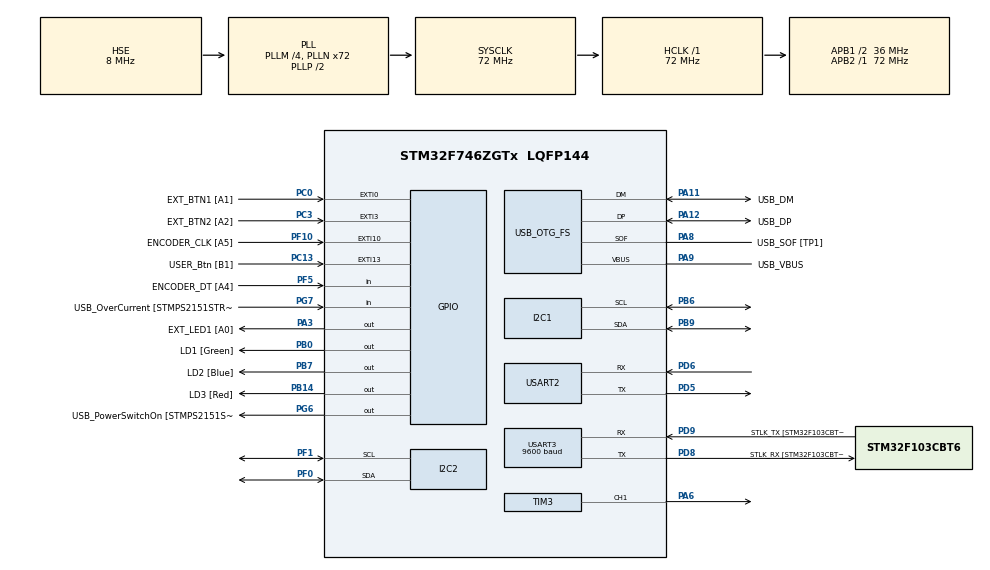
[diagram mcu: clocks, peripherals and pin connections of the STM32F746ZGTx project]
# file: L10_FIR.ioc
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I2C1.Timing=0x00808CD2
I2C2.Timing=0x00808CD2
Mcu.Family=STM32F7
Mcu.Name=STM32F746ZGTx
Mcu.Package=LQFP144
NVIC.EXTI0_IRQn=true\:0\:0\:false\:false\:true\:true\:true
NVIC.EXTI15_10_IRQn=true\:0\:0\:false\:false\:true\:true\:true
NVIC.EXTI3_IRQn=true\:0\:0\:false\:false\:true\:true\:true
NVIC.PriorityGroup=NVIC_PRIORITYGROUP_4
NVIC.TIM3_IRQn=true\:0\:0\:false\:false\:true\:true\:true
NVIC.TIM4_IRQn=true\:0\:0\:false\:false\:true\:true\:true
NVIC.USART3_IRQn=true\:0\:0\:false\:false\:true\:true\:true
PA1.GPIO_Label=RMII_REF_CLK [LAN8742A-CZ-TR_REFCLK0]
PA1.Signal=ETH_REF_CLK
PA10.GPIO_Label=USB_ID
PA10.Signal=USB_OTG_FS_ID
PA11.GPIO_Label=USB_DM
PA11.Mode=Device_Only
PA11.Signal=USB_OTG_FS_DM
PA12.GPIO_Label=USB_DP
PA12.Mode=Device_Only
PA12.Signal=USB_OTG_FS_DP
PA13.GPIO_Label=TMS
PA13.Mode=Serial_Wire
PA13.Signal=SYS_JTMS-SWDIO
PA14.GPIO_Label=TCK
PA14.Mode=Serial_Wire
PA14.Signal=SYS_JTCK-SWCLK
PA2.GPIO_Label=RMII_MDIO [LAN8742A-CZ-TR_MDIO]
PA2.Signal=ETH_MDIO
PA3.GPIO_Label=EXT_LED1 [A0]
PA3.Signal=GPIO_Output
PA6.Signal=S_TIM3_CH1
PA7.GPIO_Label=RMII_CRS_DV [LAN8742A-CZ-TR_CRS_DV]
PA7.Signal=ETH_CRS_DV
PA8.GPIO_Label=USB_SOF [TP1]
PA8.Mode=Activate_SOF_FS
PA8.Signal=USB_OTG_FS_SOF
PA9.GPIO_Label=USB_VBUS
PA9.Mode=Activate_VBUS
PA9.Signal=USB_OTG_FS_VBUS
PB0.GPIO_Label=LD1 [Green]
PB0.Signal=GPIO_Output
PB13.GPIO_Label=RMII_TXD1 [LAN8742A-CZ-TR_TXD1]
PB13.Signal=ETH_TXD1
PB14.GPIO_Label=LD3 [Red]
PB14.Signal=GPIO_Output
PB3.GPIO_Label=SW0
PB3.Signal=SYS_JTDO-SWO
PB6.Mode=I2C
PB6.Signal=I2C1_SCL
PB7.GPIO_Label=LD2 [Blue]
PB7.Signal=GPIO_Output
PB9.Mode=I2C
PB9.Signal=I2C1_SDA
PC0.GPIO_Label=EXT_BTN1 [A1]
PC0.GPIO_ModeDefaultEXTI=GPIO_MODE_IT_FALLING
PC0.Signal=GPXTI0
PC1.GPIO_Label=RMII_MDC [LAN8742A-CZ-TR_MDC]
PC1.Signal=ETH_MDC
PC13.GPIO_Label=USER_Btn [B1]
PC13.Signal=GPXTI13
PC14/OSC32_IN.Mode=LSE-External-Oscillator
PC14/OSC32_IN.Signal=RCC_OSC32_IN
PC15/OSC32_OUT.Mode=LSE-External-Oscillator
PC15/OSC32_OUT.Signal=RCC_OSC32_OUT
PC3.GPIO_Label=EXT_BTN2 [A2]
PC3.GPIO_ModeDefaultEXTI=GPIO_MODE_IT_RISING
PC3.Signal=GPXTI3
PC4.GPIO_Label=RMII_RXD0 [LAN8742A-CZ-TR_RXD0]
PC4.Signal=ETH_RXD0
PC5.GPIO_Label=RMII_RXD1 [LAN8742A-CZ-TR_RXD1]
PC5.Signal=ETH_RXD1
PD5.Mode=Asynchronous
PD5.Signal=USART2_TX
PD6.Mode=Asynchronous
PD6.Signal=USART2_RX
PD8.GPIO_Label=STLK_RX [STM32F103CBT6_PA3]
PD8.Mode=Asynchronous
PD8.Signal=USART3_TX
PD9.GPIO_Label=STLK_TX [STM32F103CBT6_PA2]
PD9.Mode=Asynchronous
PD9.Signal=USART3_RX
PF0.Mode=I2C
PF0.Signal=I2C2_SDA
PF1.Mode=I2C
PF1.Signal=I2C2_SCL
PF10.GPIO_Label=ENCODER_CLK [A5]
PF10.Signal=GPXTI10
PF5.GPIO_Label=ENCODER_DT [A4]
PF5.Signal=GPIO_Input
PG11.GPIO_Label=RMII_TX_EN [LAN8742A-CZ-TR_TXEN]
PG11.Signal=ETH_TX_EN
PG13.GPIO_Label=RMII_TXD0 [LAN8742A-CZ-TR_TXD0]
PG13.Signal=ETH_TXD0
PG6.GPIO_Label=USB_PowerSwitchOn [STMPS2151STR_EN]
PG6.Signal=GPIO_Output
PG7.GPIO_Label=USB_OverCurrent [STMPS2151STR_FAULT]
PG7.Signal=GPIO_Input
PH0/OSC_IN.GPIO_Label=MCO [STM32F103CBT6_PA8]
PH0/OSC_IN.Mode=HSE-External-Clock-Source
PH0/OSC_IN.Signal=RCC_OSC_IN
PH1/OSC_OUT.Mode=HSE-External-Clock-Source
PH1/OSC_OUT.Signal=RCC_OSC_OUT
ProjectManager.HeapSize=0x200
ProjectManager.StackSize=0x400
ProjectManager.TargetToolchain=STM32CubeIDE
RCC.48MHZClocksFreq_Value=24000000
RCC.AHBFreq_Value=72000000
RCC.APB1CLKDivider=RCC_HCLK_DIV2
RCC.APB1Freq_Value=36000000
RCC.APB1TimFreq_Value=72000000
RCC.APB2Freq_Value=72000000
RCC.APB2TimFreq_Value=72000000
RCC.CortexFreq_Value=72000000
RCC.HCLKFreq_Value=72000000
RCC.HSE_VALUE=8000000
RCC.HSI_VALUE=16000000
RCC.PLLM=4
RCC.PLLMUL=RCC_PLL_MUL9
RCC.PLLN=72
RCC.PLLQ=3
RCC.PRESCALERUSB=RCC_USBCLKSOURCE_PLL_DIV1_5
RCC.SYSCLKFreq_VALUE=72000000
RCC.SYSCLKSource=RCC_SYSCLKSOURCE_PLLCLK
RCC.SYSCLKSourceVirtual=RCC_SYSCLKSOURCE_PLLCLK
RCC.USBFreq_Value=48000000
RCC.VCOOutputFreq_Value=144000000
SH.S_TIM3_CH1.0=TIM3_CH1,PWM Generation1 CH1
TIM3.Channel-PWM\ Generation1\ CH1=TIM_CHANNEL_1
TIM3.Period=999
TIM3.Prescaler=71
TIM4.Period=4999
TIM4.Prescaler=7199
USART2.VirtualMode-Asynchronous=VM_ASYNC
USART3.BaudRate=9600
USART3.VirtualMode-Asynchronous=VM_ASYNC
USB_OTG_FS.VirtualMode=Device_Only
VP_TIM3_VS_ClockSourceINT.Mode=Internal
VP_TIM4_VS_ClockSourceINT.Mode=Internal
board=NUCLEO-F746ZG

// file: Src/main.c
/* USER CODE BEGIN Header */
/**
  ******************************************************************************
  * @file           : main.c
  * @brief          : Main program body
  ******************************************************************************
  * @attention
  *
  * <h2><center>&copy; Copyright (c) 2019 STMicroelectronics.
  * All rights reserved.</center></h2>
  *
  * This software component is licensed by ST under BSD 3-Clause license,
  * the "License"; You may not use this file except in compliance with the
  * License. You may obtain a copy of the License at:
  *                        opensource.org/licenses/BSD-3-Clause
  *
  ******************************************************************************
  */
/* USER CODE END Header */

#include "main.h"
#include "i2c.h"
#include "tim.h"
#include "usart.h"
#include "usb_otg.h"
#include "gpio.h"

/* USER CODE BEGIN Includes */
#include "i2c-lcd.h"
#include "arm_math.h"
#include "math_helper.h"
#include "bh1750.h"
#include "stdio.h"
#include "string.h"
#include "MojeFunkcje.h"

/* USER CODE END Includes */

/* USER CODE BEGIN PD */
#define KP (0.25) // wzmocnienie czlonu proporcjonalnego
#define KD (0.0001) // wzmocnienie czlonu rozniczkujacego
#define KI (0.05) // wzmocnienie czlonu calkujacego

/* USER CODE END PD */

/* USER CODE BEGIN PV */

uint16_t OdczytLUX = 0; // odczyt
uint16_t WartoscZadana = 0; // wartosc zadana
uint8_t OdebranaWiadomosc[4]; // odebrana message
arm_pid_instance_f32 REG_PID;

/* USER CODE END PV */

void SystemClock_Config(void);

int main(void)
{
  /* USER CODE BEGIN 1 */

  // nadanie wartosci wzmocnien regulatora
  REG_PID.Kp = KP;
  REG_PID.Ki = KI;
  REG_PID.Kd = KD;

  /* USER CODE END 1 */

  /* MCU Configuration--------------------------------------------------------*/

  /* Reset of all peripherals, Initializes the Flash interface and the Systick. */
  HAL_Init();

  /* Configure the system clock */
  SystemClock_Config();

  /* Initialize all configured peripherals */
  MX_GPIO_Init();
  MX_USB_OTG_FS_PCD_Init();
  MX_I2C1_Init();
  MX_I2C2_Init();
  MX_TIM3_Init();
  MX_TIM4_Init();
  MX_USART2_UART_Init();
  MX_USART3_UART_Init();
  /* USER CODE BEGIN 2 */

  BH1750_Init(&hi2c1);
  BH1750_SetMode(CONTINUOUS_HIGH_RES_MODE_2);
  lcd_init();
  arm_pid_init_f32(&REG_PID, 1);

  HAL_TIM_Base_Start_IT(&htim4);
  HAL_TIM_PWM_Start(&htim3, TIM_CHANNEL_1);

  HAL_UART_Receive_IT(&huart3, &OdebranaWiadomosc, 4);

  /* USER CODE END 2 */

  /* Infinite loop */
  /* USER CODE BEGIN WHILE */
  while (1)
  {
	  	  	  	ZmierzLUX(&OdczytLUX);
	  	  	  	ZadajPWM(WartoscZadana, OdczytLUX, &REG_PID);
	  	  	  	HAL_Delay(100);

    /* USER CODE END WHILE */

  }
}

void SystemClock_Config(void)
{
  RCC_OscInitTypeDef RCC_OscInitStruct = {0};
  RCC_ClkInitTypeDef RCC_ClkInitStruct = {0};
  RCC_PeriphCLKInitTypeDef PeriphClkInitStruct = {0};

  /** Configure LSE Drive Capability
  */
  HAL_PWR_EnableBkUpAccess();
  /** Configure the main internal regulator output voltage
  */
  __HAL_RCC_PWR_CLK_ENABLE();
  __HAL_PWR_VOLTAGESCALING_CONFIG(PWR_REGULATOR_VOLTAGE_SCALE3);
  /** Initializes the CPU, AHB and APB busses clocks
  */
  RCC_OscInitStruct.OscillatorType = RCC_OSCILLATORTYPE_HSE;
  RCC_OscInitStruct.HSEState = RCC_HSE_BYPASS;
  RCC_OscInitStruct.PLL.PLLState = RCC_PLL_ON;
  RCC_OscInitStruct.PLL.PLLSource = RCC_PLLSOURCE_HSE;
  RCC_OscInitStruct.PLL.PLLM = 4;
  RCC_OscInitStruct.PLL.PLLN = 72;
  RCC_OscInitStruct.PLL.PLLP = RCC_PLLP_DIV2;
  RCC_OscInitStruct.PLL.PLLQ = 3;
  if (HAL_RCC_OscConfig(&RCC_OscInitStruct) != HAL_OK)
  {
    Error_Handler();
  }
  /** Initializes the CPU, AHB and APB busses clocks
  */
  RCC_ClkInitStruct.ClockType = RCC_CLOCKTYPE_HCLK|RCC_CLOCKTYPE_SYSCLK
                              |RCC_CLOCKTYPE_PCLK1|RCC_CLOCKTYPE_PCLK2;
  RCC_ClkInitStruct.SYSCLKSource = RCC_SYSCLKSOURCE_PLLCLK;
  RCC_ClkInitStruct.AHBCLKDivider = RCC_SYSCLK_DIV1;
  RCC_ClkInitStruct.APB1CLKDivider = RCC_HCLK_DIV2;
  RCC_ClkInitStruct.APB2CLKDivider = RCC_HCLK_DIV1;

  if (HAL_RCC_ClockConfig(&RCC_ClkInitStruct, FLASH_LATENCY_2) != HAL_OK)
  {
    Error_Handler();
  }
  PeriphClkInitStruct.PeriphClockSelection = RCC_PERIPHCLK_USART2|RCC_PERIPHCLK_USART3
                              |RCC_PERIPHCLK_I2C1|RCC_PERIPHCLK_I2C2
                              |RCC_PERIPHCLK_CLK48;
  PeriphClkInitStruct.Usart2ClockSelection = RCC_USART2CLKSOURCE_PCLK1;
  PeriphClkInitStruct.Usart3ClockSelection = RCC_USART3CLKSOURCE_PCLK1;
  PeriphClkInitStruct.I2c1ClockSelection = RCC_I2C1CLKSOURCE_PCLK1;
  PeriphClkInitStruct.I2c2ClockSelection = RCC_I2C2CLKSOURCE_PCLK1;
  PeriphClkInitStruct.Clk48ClockSelection = RCC_CLK48SOURCE_PLL;
  if (HAL_RCCEx_PeriphCLKConfig(&PeriphClkInitStruct) != HAL_OK)
  {
    Error_Handler();
  }
}

/* USER CODE BEGIN 4 */
void HAL_TIM_PeriodElapsedCallback (TIM_HandleTypeDef * htim)
{
	if(htim->Instance == TIM4)
	{
		MakeLCDgreatAgain(WartoscZadana, OdczytLUX);
	}
}
void HAL_UART_RxCpltCallback(UART_HandleTypeDef *huart)
{
	//WartoscZadana = atoi(OdebranaWiadomosc);
	WartoscZadana = atoi(OdebranaWiadomosc);
	HAL_UART_Receive_IT(&huart3, &OdebranaWiadomosc, 4);
}
void HAL_GPIO_EXTI_Callback(uint16_t GPIO_Pin)
{

}
/* USER CODE END 4 */

void Error_Handler(void)
{
  /* USER CODE BEGIN Error_Handler_Debug */
  /* User can add his own implementation to report the HAL error return state */
  HAL_GPIO_WritePin(LD1_GPIO_Port, LD1_Pin, GPIO_PIN_RESET);
  HAL_GPIO_WritePin(LD2_GPIO_Port, LD2_Pin, GPIO_PIN_RESET);
  HAL_GPIO_WritePin(LD3_GPIO_Port, LD3_Pin, GPIO_PIN_RESET);
  while(1)
  {
	  HAL_GPIO_TogglePin(LD3_GPIO_Port, LD3_Pin);
	  HAL_Delay(100);
  }
  /* USER CODE END Error_Handler_Debug */
}

/************************ (C) COPYRIGHT STMicroelectronics *****END OF FILE****/
